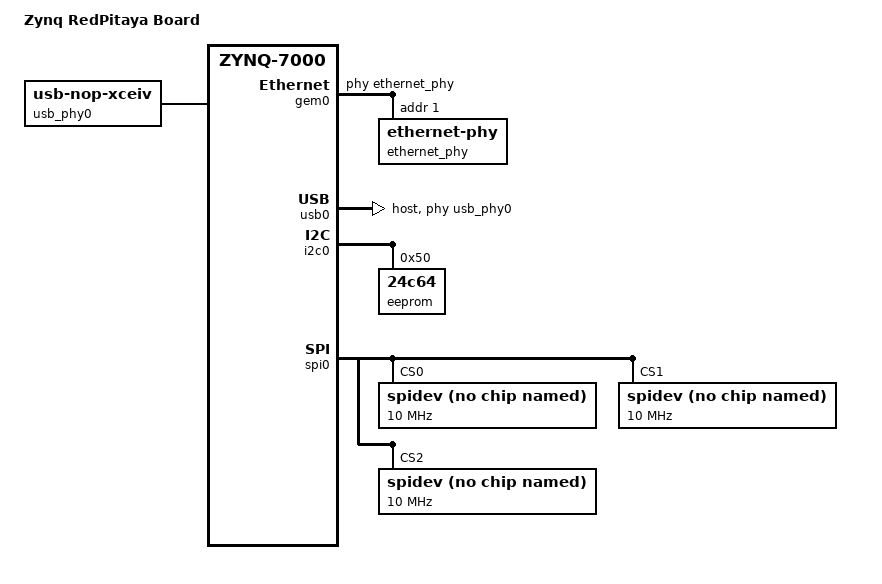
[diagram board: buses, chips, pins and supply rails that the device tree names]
/include/ "system-conf.dtsi"

/ {
  model = "Zynq RedPitaya Board";
  compatible = "xlnx,zynq-7000";
};

/ {
  chosen {
    bootargs = "console=ttyPS0,115200 earlyprintk clk_ignore_unused cma=192M root=/dev/mmcblk0p2 rw rootwait";
  };
};

/ {
  amba_pl: amba_pl {
    #address-cells = <1>;
    #size-cells = <1>;
    compatible = "simple-bus";
    interrupt-parent = <&intc>;
    ranges ;

    ip_perfmon: axi_perf_mon@43c00000 {
      xlnx,id-filter-32bit;
    };

    guiext@40000000 {
      compatible = "rpt,rpt-guiext-1.0";
      dmas = <&ip_vdma 0>;
      dma-names = "video";
      edid-i2c = <&i2c1>;
      width = <1280>;
      height = <1024>;
    };

    ip_vdma: dma@40010000 {
      compatible = "xlnx,axi-vdma-6.3", "xlnx,axi-vdma-1.00.a";
      #dma-cells = <1>;
      #address-cells = <1>;
      #size-cells = <1>;
      dma-ranges = <0x00000000 0x00000000 0x20000000>;
      dma-channel@40010000 {
        xlnx,device-id = <0x1>;
      };
    };

  };
};

/* ETH PHY */
&gem0 {
    local-mac-address = [00 0a 35 00 01 22];
    phy-handle = <&ethernet_phy>;
    phy-reset-active-low;

    ethernet_phy: ethernet-phy@1 {
        reg = <1>;
        device_type = "ethernet-phy";
    };
};

/* USB PHY */
/{
    usb_phy0: usb_phy@0 {
        #phy-cells = <0>;
        compatible = "usb-nop-xceiv";
    };
};

&usb0 {
    dr_mode = "host";
    //dr_mode = "peripheral";
    usb-phy = <&usb_phy0>;
    xlnx,phy-reset-gpio = <&gpio0 48 0>;
};

&i2c0 {
    eeprom@50 {
        compatible = "24c64";
        size= <8192>;
        pagesize = <32>;
        reg = <0x50>;
    };
};

&spi0 {
    spidev@0 {
        compatible="rpt,spidev";
        reg =<0>;
        spi-max-frequency = <10000000>;
    };
    spidev@1 {
        compatible="rpt,spidev";
        reg =<1>;
        spi-max-frequency = <10000000>;
    };
    spidev@2 {
        compatible="rpt,spidev";
        reg =<2>;
        spi-max-frequency = <10000000>;
    };
};

